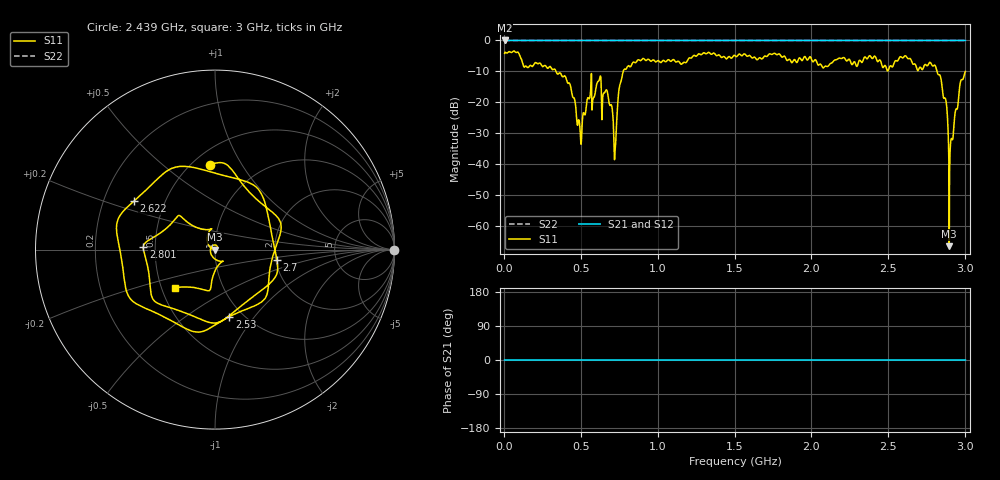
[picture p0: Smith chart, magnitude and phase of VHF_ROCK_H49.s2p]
!Keysight Technologies N9923A: A.08.09
!Date: Thursday, 02 August 2018 07:45:46
!Timezone: (GMT+08:00) Kuala Lumpur, Singapore
!Model: N9923A
!Serial: MY52412143
!GPS Latitude:
!GPS Longitude:
!GPS TimeStamp: 0001-01-01 00:00:00Z
!GPS Seconds Since Last Read: 0
!CHECKSUM:0588494721
!Correction: S11(ON U)S21()S12()S22()
!S2P File: Measurements:S11,S21,S12,S22:
# Hz S DB R 50
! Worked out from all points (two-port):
!   3000 points, 2 MHz to 3.002 GHz, reference 50 ohm
!   highest |S21| = 0.00 dB at 2 MHz (marker M1); lowest = 0.0 dB at 2 MHz (marker M2)
!   |S21| within 3 dB of the highest: start of sweep to end of sweep
!   lowest |S11| = -66.5 dB at 2.897 GHz (marker M3), VSWR 1.00, Z = 50 + j0.0437 ohm
!   |S11| at or under -10 dB: 337.3 MHz to 774.4 MHz (437 MHz wide, 78.6 % of centre); 2.817 GHz to 3.002 GHz (184.8 MHz wide, 6.35 % of centre)
!   |S22| runs from 0.0 to 0.0 dB; largest |S21 - S12| = 0
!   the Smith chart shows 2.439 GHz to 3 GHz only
!   S11 on the Smith chart (normalised r, x): 2.439 GHz: 0.61, +0.74; 2.53 GHz: 0.87, -0.76; 2.622 GHz: 0.33, +0.25; 2.7 GHz: 2.03, -0.27; 2.801 GHz: 0.43, +0.01; 3 GHz: 0.59, -0.28
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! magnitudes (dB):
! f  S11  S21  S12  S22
! 2 MHz  -4.2  0.0  0.0  0.0
! 392.1 MHz  -11.4  0.0  0.0  0.0
! 502.2 MHz  -32.3  0.0  0.0  0.0
! 615.2 MHz  -13.1  0.0  0.0  0.0
! 686.2 MHz  -20.8  0.0  0.0  0.0
! 720.2 MHz  -36.5  0.0  0.0  0.0
! 752.3 MHz  -14.4  0.0  0.0  0.0
! 783.3 MHz  -9.3  0.0  0.0  0.0
! 1.002 GHz  -6.5  0.0  0.0  0.0
! 1.503 GHz  -4.9  0.0  0.0  0.0
! 2.003 GHz  -6.4  0.0  0.0  0.0
! 2.439 GHz  -6.5  0.0  0.0  0.0
! 2.503 GHz  -9.2  0.0  0.0  0.0
! 2.53 GHz  -8.4  0.0  0.0  0.0
! 2.622 GHz  -5.6  0.0  0.0  0.0
! 2.7 GHz  -9.1  0.0  0.0  0.0
! 2.801 GHz  -8.0  0.0  0.0  0.0
! 2.871 GHz  -18.7  0.0  0.0  0.0
! 2.897 GHz  -66.5  0.0  0.0  0.0
! 2.909 GHz  -31.9  0.0  0.0  0.0
! 3 GHz  -10.2  0.0  0.0  0.0
! 3.002 GHz  -10.0  0.0  0.0  0.0
